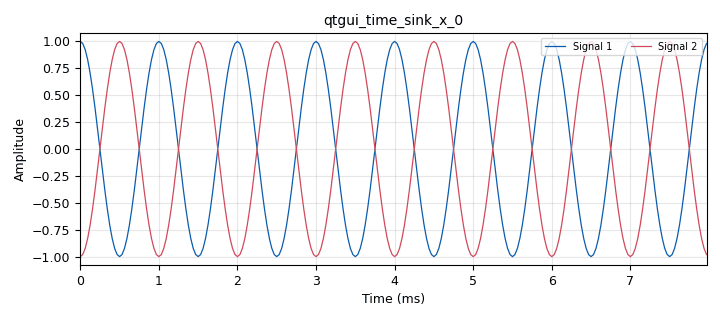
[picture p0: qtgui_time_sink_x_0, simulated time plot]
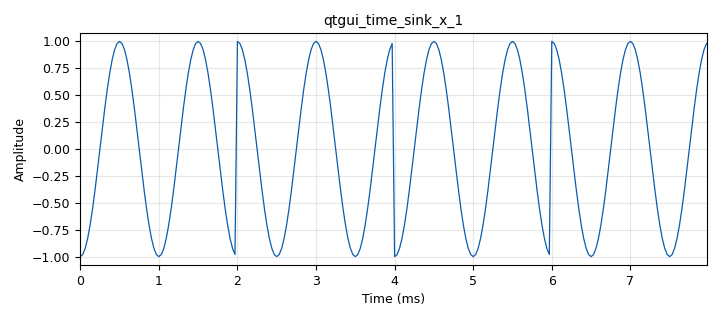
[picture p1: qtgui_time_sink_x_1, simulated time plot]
options:
  parameters:
    author: operateur
    generate_options: qt_gui
    generator_class_name: PythonQtGuiGenerator
    generator_module: gnuradio.grc.workflows.python_qt_gui
    id: bpsk_float
    output_language: python
    title: Not titled yet
  states: {}

blocks:
- name: samp_rate
  id: variable
  parameters:
    value: '32000'
  states: {}
- name: analog_sig_source_x_0
  id: analog_sig_source_x
  parameters:
    amp: '1'
    freq: '1000'
    offset: '0'
    phase: '0'
    samp_rate: samp_rate
    type: float
    waveform: analog.GR_COS_WAVE
  states: {}
- name: analog_sig_source_x_1
  id: analog_sig_source_x
  parameters:
    amp: '1'
    freq: '1000'
    offset: '0'
    phase: '3.1415'
    samp_rate: samp_rate
    type: float
    waveform: analog.GR_COS_WAVE
  states: {}
- name: blocks_add_const_vxx_0
  id: blocks_add_const_vxx
  parameters:
    const: '-1'
    type: float
  states: {}
- name: blocks_add_xx_0
  id: blocks_add_xx
  parameters:
    type: float
  states: {}
- name: blocks_int_to_float_0
  id: blocks_int_to_float
  parameters:
    scale: '1'
  states: {}
- name: blocks_multiply_const_vxx_0
  id: blocks_multiply_const_vxx
  parameters:
    const: '-1'
    mode: vector
    type: float
  states: {}
- name: blocks_multiply_xx_0
  id: blocks_multiply_xx
  parameters:
    type: float
  states: {}
- name: blocks_multiply_xx_1
  id: blocks_multiply_xx
  parameters:
    type: float
  states: {}
- name: blocks_repeat_0
  id: blocks_repeat
  parameters:
    interp: '64'
    type: int
  states: {}
- name: blocks_throttle2_0
  id: blocks_throttle2
  parameters:
    samples_per_second: samp_rate
    type: int
  states: {}
- name: blocks_vector_source_x_0
  id: blocks_vector_source_x
  parameters:
    repeat: 'True'
    type: int
    vector: (1, 0)
  states: {}
- name: qtgui_const_sink_x_0
  id: qtgui_const_sink_x
  parameters:
    size: '1024'
    type: complex
  states: {state: disabled}
- name: qtgui_time_sink_x_0
  id: qtgui_time_sink_x
  parameters:
    nconnections: '2'
    size: '256'
    srate: samp_rate
    type: float
  states: {}
- name: qtgui_time_sink_x_1
  id: qtgui_time_sink_x
  parameters:
    size: '256'
    srate: samp_rate
    type: float
  states: {}

connections:
- [analog_sig_source_x_0, '0', blocks_multiply_xx_0, '0']
- [analog_sig_source_x_0, '0', qtgui_time_sink_x_0, '0']
- [analog_sig_source_x_1, '0', blocks_multiply_xx_1, '1']
- [analog_sig_source_x_1, '0', qtgui_time_sink_x_0, '1']
- [blocks_add_const_vxx_0, '0', blocks_multiply_const_vxx_0, '0']
- [blocks_add_xx_0, '0', qtgui_time_sink_x_1, '0']
- [blocks_int_to_float_0, '0', blocks_add_const_vxx_0, '0']
- [blocks_int_to_float_0, '0', blocks_multiply_xx_0, '1']
- [blocks_multiply_const_vxx_0, '0', blocks_multiply_xx_1, '0']
- [blocks_multiply_xx_0, '0', blocks_add_xx_0, '0']
- [blocks_multiply_xx_1, '0', blocks_add_xx_0, '1']
- [blocks_repeat_0, '0', blocks_int_to_float_0, '0']
- [blocks_throttle2_0, '0', blocks_repeat_0, '0']
- [blocks_vector_source_x_0, '0', blocks_throttle2_0, '0']

metadata:
  file_format: 1
  grc_version: v3.11.0.0git-1029-g3c48f5e2
